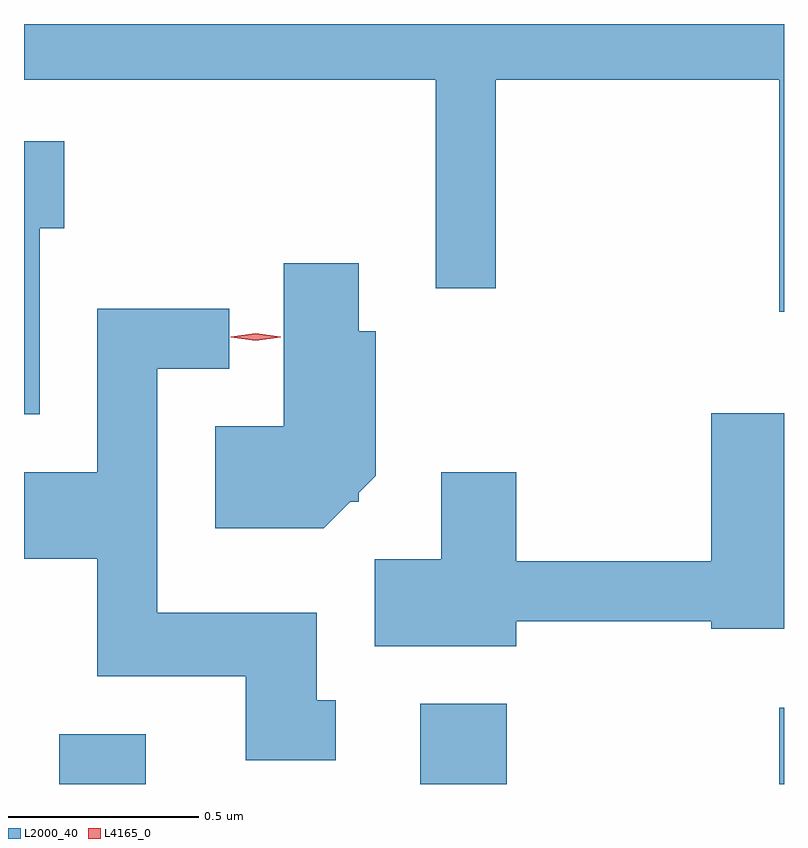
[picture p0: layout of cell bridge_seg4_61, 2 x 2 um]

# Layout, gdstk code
import gdstk
lib = gdstk.Library(unit=1e-6, precision=1e-09)
def R(c, l, rs):  # rectangles x0, y0, x1, y1
    for r in rs: c.add(gdstk.rectangle(r[:2], r[2:], *l))
def P(c, l, *ps):  # polygons
    for p in ps: c.add(gdstk.Polygon(p, *l))
L2000_40 = (2000, 40)
L4165_0 = (4165, 0)

bridge_seg4_61 = lib.new_cell('bridge_seg4_61')
R(bridge_seg4_61, L2000_40, [(1292.101,1268.463,1292.329,1268.594), (1293.051,1268.463,1293.279,1268.674), (1293.996,1268.463,1294.008,1268.664)])
P(bridge_seg4_61, L2000_40, [(1294.008,1270.463),(1292.008,1270.463),(1292.008,1270.316),(1293.091,1270.316),(1293.091,1269.768),(1293.249,1269.768),(1293.249,1270.316),(1293.996,1270.316),(1293.996,1269.706),(1294.008,1269.706)],
  [(1292.049,1269.926),(1292.114,1269.926),(1292.114,1270.154),(1292.008,1270.154),(1292.008,1269.436),(1292.049,1269.436)],
  [(1292.867,1269.206),(1292.889,1269.206),(1292.889,1269.229),(1292.934,1269.274),(1292.934,1269.654),(1292.889,1269.654),(1292.889,1269.834),(1292.691,1269.834),(1292.691,1269.404),(1292.511,1269.404),(1292.511,1269.136),(1292.797,1269.136)],
  [(1292.828,1268.684),(1292.779,1268.684),(1292.779,1268.914),(1292.359,1268.914),(1292.359,1269.556),(1292.548,1269.556),(1292.548,1269.714),(1292.201,1269.714),(1292.201,1269.284),(1292.008,1269.284),(1292.008,1269.056),(1292.201,1269.056),(1292.201,1268.746),(1292.591,1268.746),(1292.591,1268.526),(1292.828,1268.526)],
  [(1293.304,1268.891),(1293.816,1268.891),(1293.816,1268.871),(1294.008,1268.871),(1294.008,1269.439),(1293.816,1269.439),(1293.816,1269.049),(1293.304,1269.049),(1293.304,1269.284),(1293.106,1269.284),(1293.106,1269.054),(1292.931,1269.054),(1292.931,1268.826),(1293.304,1268.826)])
P(bridge_seg4_61, L4165_0, [(1292.618,1269.63),(1292.552,1269.639),(1292.552,1269.639),(1292.552,1269.64),(1292.618,1269.649),(1292.684,1269.64),(1292.684,1269.64),(1292.684,1269.639)])

lib.write_gds('bridge_seg4_61.gds')
